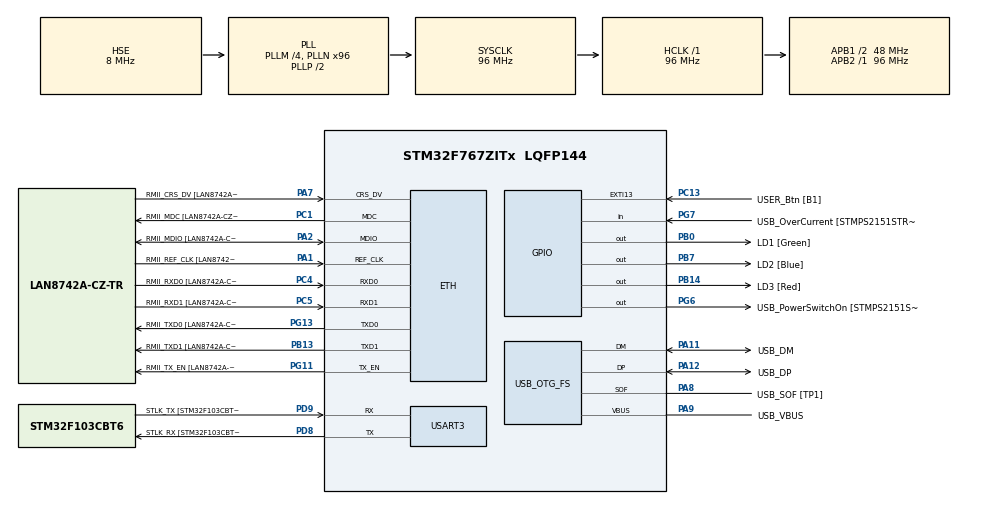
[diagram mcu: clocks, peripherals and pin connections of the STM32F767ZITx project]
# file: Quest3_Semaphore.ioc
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ETH.MediaInterface=HAL_ETH_RMII_MODE
ETH.PHY_Name=LAN8742A_PHY_ADDRESS
ETH.PHY_Value=0
ETH.PhyAddress=0
FREERTOS.CountingSemaphores01=myCountingSem01,2,Dynamic,NULL,2
FREERTOS.Tasks01=myTask,26,128,StartTask01,Default,NULL,Dynamic,NULL,NULL;myTask02,25,128,StartTask02,Default,NULL,Dynamic,NULL,NULL;myTask03,24,128,StartTask03,Default,NULL,Dynamic,NULL,NULL
FREERTOS.configUSE_NEWLIB_REENTRANT=1
Mcu.Family=STM32F7
Mcu.Name=STM32F767ZITx
Mcu.Package=LQFP144
NVIC.EXTI15_10_IRQn=true\:5\:0\:false\:false\:true\:true\:true\:true\:true
NVIC.PriorityGroup=NVIC_PRIORITYGROUP_4
NVIC.TIM1_UP_TIM10_IRQn=true\:15\:0\:false\:false\:true\:false\:false\:true\:true
NVIC.TimeBase=TIM1_UP_TIM10_IRQn
NVIC.TimeBaseIP=TIM1
PA1.GPIO_Label=RMII_REF_CLK [LAN8742A-CZ-TR_REFCLK0]
PA1.Mode=RMII
PA1.Signal=ETH_REF_CLK
PA10.GPIO_Label=USB_ID
PA10.Signal=USB_OTG_FS_ID
PA11.GPIO_Label=USB_DM
PA11.Mode=Device_Only
PA11.Signal=USB_OTG_FS_DM
PA12.GPIO_Label=USB_DP
PA12.Mode=Device_Only
PA12.Signal=USB_OTG_FS_DP
PA13.GPIO_Label=TMS
PA13.Mode=Serial_Wire
PA13.Signal=SYS_JTMS-SWDIO
PA14.GPIO_Label=TCK
PA14.Mode=Serial_Wire
PA14.Signal=SYS_JTCK-SWCLK
PA2.GPIO_Label=RMII_MDIO [LAN8742A-CZ-TR_MDIO]
PA2.Mode=RMII
PA2.Signal=ETH_MDIO
PA7.GPIO_Label=RMII_CRS_DV [LAN8742A-CZ-TR_CRS_DV]
PA7.Mode=RMII
PA7.Signal=ETH_CRS_DV
PA8.GPIO_Label=USB_SOF [TP1]
PA8.Mode=Activate_SOF_FS
PA8.Signal=USB_OTG_FS_SOF
PA9.GPIO_Label=USB_VBUS
PA9.Mode=Activate_VBUS
PA9.Signal=USB_OTG_FS_VBUS
PB0.GPIO_Label=LD1 [Green]
PB0.Signal=GPIO_Output
PB13.GPIO_Label=RMII_TXD1 [LAN8742A-CZ-TR_TXD1]
PB13.Mode=RMII
PB13.Signal=ETH_TXD1
PB14.GPIO_Label=LD3 [Red]
PB14.Signal=GPIO_Output
PB3.GPIO_Label=SWO
PB3.Signal=SYS_JTDO-SWO
PB7.GPIO_Label=LD2 [Blue]
PB7.Signal=GPIO_Output
PC1.GPIO_Label=RMII_MDC [LAN8742A-CZ-TR_MDC]
PC1.Mode=RMII
PC1.Signal=ETH_MDC
PC13.GPIO_Label=USER_Btn [B1]
PC13.Signal=GPXTI13
PC14/OSC32_IN.Mode=LSE-External-Oscillator
PC14/OSC32_IN.Signal=RCC_OSC32_IN
PC15/OSC32_OUT.Mode=LSE-External-Oscillator
PC15/OSC32_OUT.Signal=RCC_OSC32_OUT
PC4.GPIO_Label=RMII_RXD0 [LAN8742A-CZ-TR_RXD0]
PC4.Mode=RMII
PC4.Signal=ETH_RXD0
PC5.GPIO_Label=RMII_RXD1 [LAN8742A-CZ-TR_RXD1]
PC5.Mode=RMII
PC5.Signal=ETH_RXD1
PD8.GPIO_Label=STLK_RX [STM32F103CBT6_PA3]
PD8.Mode=Asynchronous
PD8.Signal=USART3_TX
PD9.GPIO_Label=STLK_TX [STM32F103CBT6_PA2]
PD9.Mode=Asynchronous
PD9.Signal=USART3_RX
PG11.GPIO_Label=RMII_TX_EN [LAN8742A-CZ-TR_TXEN]
PG11.Mode=RMII
PG11.Signal=ETH_TX_EN
PG13.GPIO_Label=RMII_TXD0 [LAN8742A-CZ-TR_TXD0]
PG13.Mode=RMII
PG13.Signal=ETH_TXD0
PG6.GPIO_Label=USB_PowerSwitchOn [STMPS2151STR_EN]
PG6.Signal=GPIO_Output
PG7.GPIO_Label=USB_OverCurrent [STMPS2151STR_FAULT]
PG7.Signal=GPIO_Input
PH0/OSC_IN.GPIO_Label=MCO [STM32F103CBT6_PA8]
PH0/OSC_IN.Mode=HSE-External-Oscillator
PH0/OSC_IN.Signal=RCC_OSC_IN
PH1/OSC_OUT.Mode=HSE-External-Oscillator
PH1/OSC_OUT.Signal=RCC_OSC_OUT
ProjectManager.HeapSize=0x200
ProjectManager.StackSize=0x400
ProjectManager.TargetToolchain=STM32CubeIDE
RCC.48MHZClocksFreq_Value=24000000
RCC.AHBFreq_Value=96000000
RCC.APB1CLKDivider=RCC_HCLK_DIV2
RCC.APB1Freq_Value=48000000
RCC.APB1TimFreq_Value=96000000
RCC.APB2Freq_Value=96000000
RCC.APB2TimFreq_Value=96000000
RCC.CortexFreq_Value=96000000
RCC.HCLKFreq_Value=96000000
RCC.HSE_VALUE=8000000
RCC.HSI_VALUE=16000000
RCC.PLLM=4
RCC.PLLMUL=RCC_PLL_MUL9
RCC.PLLN=96
RCC.PLLQ=4
RCC.PRESCALERUSB=RCC_USBCLKSOURCE_PLL_DIV1_5
RCC.SYSCLKFreq_VALUE=96000000
RCC.SYSCLKSource=RCC_SYSCLKSOURCE_PLLCLK
RCC.SYSCLKSourceVirtual=RCC_SYSCLKSOURCE_PLLCLK
RCC.USBFreq_Value=48000000
RCC.VCOOutputFreq_Value=192000000
USART3.VirtualMode-Asynchronous=VM_ASYNC
USB_OTG_FS.VirtualMode=Device_Only
VP_FREERTOS_VS_CMSIS_V2.Mode=CMSIS_V2
VP_SYS_VS_tim1.Mode=TIM1
board=NUCLEO-F767ZI

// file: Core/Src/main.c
/* USER CODE BEGIN Header */
/**
  ******************************************************************************
  * @file           : main.c
  * @brief          : Main program body
  ******************************************************************************
  * @attention
  *
  * Copyright (c) 2025 STMicroelectronics.
  * All rights reserved.
  *
  * This software is licensed under terms that can be found in the LICENSE file
  * in the root directory of this software component.
  * If no LICENSE file comes with this software, it is provided AS-IS.
  *
  ******************************************************************************
  */
/* USER CODE END Header */
#include "main.h"
#include "string.h"
#include "cmsis_os.h"

#if defined ( __ICCARM__ ) /*!< IAR Compiler */
#pragma location=0x2007c000
ETH_DMADescTypeDef  DMARxDscrTab[ETH_RX_DESC_CNT]; /* Ethernet Rx DMA Descriptors */
#pragma location=0x2007c0a0
ETH_DMADescTypeDef  DMATxDscrTab[ETH_TX_DESC_CNT]; /* Ethernet Tx DMA Descriptors */

#elif defined ( __CC_ARM )  /* MDK ARM Compiler */

__attribute__((at(0x2007c000))) ETH_DMADescTypeDef  DMARxDscrTab[ETH_RX_DESC_CNT]; /* Ethernet Rx DMA Descriptors */
__attribute__((at(0x2007c0a0))) ETH_DMADescTypeDef  DMATxDscrTab[ETH_TX_DESC_CNT]; /* Ethernet Tx DMA Descriptors */

#elif defined ( __GNUC__ ) /* GNU Compiler */

ETH_DMADescTypeDef DMARxDscrTab[ETH_RX_DESC_CNT] __attribute__((section(".RxDecripSection"))); /* Ethernet Rx DMA Descriptors */
ETH_DMADescTypeDef DMATxDscrTab[ETH_TX_DESC_CNT] __attribute__((section(".TxDecripSection")));   /* Ethernet Tx DMA Descriptors */
#endif

ETH_TxPacketConfig TxConfig;

ETH_HandleTypeDef heth;

UART_HandleTypeDef huart3;

PCD_HandleTypeDef hpcd_USB_OTG_FS;

/* Definitions for myTask */
osThreadId_t myTaskHandle;
const osThreadAttr_t myTask_attributes = {
  .name = "myTask",
  .stack_size = 128 * 4,
  .priority = (osPriority_t) osPriorityNormal2,
};
/* Definitions for myTask02 */
osThreadId_t myTask02Handle;
const osThreadAttr_t myTask02_attributes = {
  .name = "myTask02",
  .stack_size = 128 * 4,
  .priority = (osPriority_t) osPriorityNormal1,
};
/* Definitions for myTask03 */
osThreadId_t myTask03Handle;
const osThreadAttr_t myTask03_attributes = {
  .name = "myTask03",
  .stack_size = 128 * 4,
  .priority = (osPriority_t) osPriorityNormal,
};
/* Definitions for myCountingSem01 */
osSemaphoreId_t myCountingSem01Handle;
const osSemaphoreAttr_t myCountingSem01_attributes = {
  .name = "myCountingSem01"
};
/* USER CODE BEGIN PV */
uint32_t count = 0;
/* USER CODE END PV */

void SystemClock_Config(void);
static void MX_GPIO_Init(void);
static void MX_ETH_Init(void);
static void MX_USART3_UART_Init(void);
static void MX_USB_OTG_FS_PCD_Init(void);
void StartTask01(void *argument);
void StartTask02(void *argument);
void StartTask03(void *argument);

int main(void)
{

  /* MCU Configuration--------------------------------------------------------*/

  /* Reset of all peripherals, Initializes the Flash interface and the Systick. */
  HAL_Init();

  /* Configure the system clock */
  SystemClock_Config();

  /* Initialize all configured peripherals */
  MX_GPIO_Init();
  MX_ETH_Init();
  MX_USART3_UART_Init();
  MX_USB_OTG_FS_PCD_Init();

  /* Init scheduler */
  osKernelInitialize();

  /* Create the semaphores(s) */
  /* creation of myCountingSem01 */
  myCountingSem01Handle = osSemaphoreNew(2, 2, &myCountingSem01_attributes);

  /* Create the thread(s) */
  /* creation of myTask */
  myTaskHandle = osThreadNew(StartTask01, NULL, &myTask_attributes);

  /* creation of myTask02 */
  myTask02Handle = osThreadNew(StartTask02, NULL, &myTask02_attributes);

  /* creation of myTask03 */
  myTask03Handle = osThreadNew(StartTask03, NULL, &myTask03_attributes);

  /* Start scheduler */
  osKernelStart();

  /* We should never get here as control is now taken by the scheduler */

  /* Infinite loop */
  while (1)
  {

  }
}

void SystemClock_Config(void)
{
  RCC_OscInitTypeDef RCC_OscInitStruct = {0};
  RCC_ClkInitTypeDef RCC_ClkInitStruct = {0};

  /** Configure LSE Drive Capability
  */
  HAL_PWR_EnableBkUpAccess();

  /** Configure the main internal regulator output voltage
  */
  __HAL_RCC_PWR_CLK_ENABLE();
  __HAL_PWR_VOLTAGESCALING_CONFIG(PWR_REGULATOR_VOLTAGE_SCALE3);

  /** Initializes the RCC Oscillators according to the specified parameters
  * in the RCC_OscInitTypeDef structure.
  */
  RCC_OscInitStruct.OscillatorType = RCC_OSCILLATORTYPE_HSE;
  RCC_OscInitStruct.HSEState = RCC_HSE_ON;
  RCC_OscInitStruct.PLL.PLLState = RCC_PLL_ON;
  RCC_OscInitStruct.PLL.PLLSource = RCC_PLLSOURCE_HSE;
  RCC_OscInitStruct.PLL.PLLM = 4;
  RCC_OscInitStruct.PLL.PLLN = 96;
  RCC_OscInitStruct.PLL.PLLP = RCC_PLLP_DIV2;
  RCC_OscInitStruct.PLL.PLLQ = 4;
  RCC_OscInitStruct.PLL.PLLR = 2;
  if (HAL_RCC_OscConfig(&RCC_OscInitStruct) != HAL_OK)
  {
    Error_Handler();
  }

  /** Activate the Over-Drive mode
  */
  if (HAL_PWREx_EnableOverDrive() != HAL_OK)
  {
    Error_Handler();
  }

  /** Initializes the CPU, AHB and APB buses clocks
  */
  RCC_ClkInitStruct.ClockType = RCC_CLOCKTYPE_HCLK|RCC_CLOCKTYPE_SYSCLK
                              |RCC_CLOCKTYPE_PCLK1|RCC_CLOCKTYPE_PCLK2;
  RCC_ClkInitStruct.SYSCLKSource = RCC_SYSCLKSOURCE_PLLCLK;
  RCC_ClkInitStruct.AHBCLKDivider = RCC_SYSCLK_DIV1;
  RCC_ClkInitStruct.APB1CLKDivider = RCC_HCLK_DIV2;
  RCC_ClkInitStruct.APB2CLKDivider = RCC_HCLK_DIV1;

  if (HAL_RCC_ClockConfig(&RCC_ClkInitStruct, FLASH_LATENCY_3) != HAL_OK)
  {
    Error_Handler();
  }
}

static void MX_ETH_Init(void)
{

   static uint8_t MACAddr[6];

  heth.Instance = ETH;
  MACAddr[0] = 0x00;
  MACAddr[1] = 0x80;
  MACAddr[2] = 0xE1;
  MACAddr[3] = 0x00;
  MACAddr[4] = 0x00;
  MACAddr[5] = 0x00;
  heth.Init.MACAddr = &MACAddr[0];
  heth.Init.MediaInterface = HAL_ETH_RMII_MODE;
  heth.Init.TxDesc = DMATxDscrTab;
  heth.Init.RxDesc = DMARxDscrTab;
  heth.Init.RxBuffLen = 1524;

  if (HAL_ETH_Init(&heth) != HAL_OK)
  {
    Error_Handler();
  }

  memset(&TxConfig, 0 , sizeof(ETH_TxPacketConfig));
  TxConfig.Attributes = ETH_TX_PACKETS_FEATURES_CSUM | ETH_TX_PACKETS_FEATURES_CRCPAD;
  TxConfig.ChecksumCtrl = ETH_CHECKSUM_IPHDR_PAYLOAD_INSERT_PHDR_CALC;
  TxConfig.CRCPadCtrl = ETH_CRC_PAD_INSERT;

}

static void MX_USART3_UART_Init(void)
{

  huart3.Instance = USART3;
  huart3.Init.BaudRate = 115200;
  huart3.Init.WordLength = UART_WORDLENGTH_8B;
  huart3.Init.StopBits = UART_STOPBITS_1;
  huart3.Init.Parity = UART_PARITY_NONE;
  huart3.Init.Mode = UART_MODE_TX_RX;
  huart3.Init.HwFlowCtl = UART_HWCONTROL_NONE;
  huart3.Init.OverSampling = UART_OVERSAMPLING_16;
  huart3.Init.OneBitSampling = UART_ONE_BIT_SAMPLE_DISABLE;
  huart3.AdvancedInit.AdvFeatureInit = UART_ADVFEATURE_NO_INIT;
  if (HAL_UART_Init(&huart3) != HAL_OK)
  {
    Error_Handler();
  }

}

static void MX_USB_OTG_FS_PCD_Init(void)
{

  hpcd_USB_OTG_FS.Instance = USB_OTG_FS;
  hpcd_USB_OTG_FS.Init.dev_endpoints = 6;
  hpcd_USB_OTG_FS.Init.speed = PCD_SPEED_FULL;
  hpcd_USB_OTG_FS.Init.dma_enable = DISABLE;
  hpcd_USB_OTG_FS.Init.phy_itface = PCD_PHY_EMBEDDED;
  hpcd_USB_OTG_FS.Init.Sof_enable = ENABLE;
  hpcd_USB_OTG_FS.Init.low_power_enable = DISABLE;
  hpcd_USB_OTG_FS.Init.lpm_enable = DISABLE;
  hpcd_USB_OTG_FS.Init.vbus_sensing_enable = ENABLE;
  hpcd_USB_OTG_FS.Init.use_dedicated_ep1 = DISABLE;
  if (HAL_PCD_Init(&hpcd_USB_OTG_FS) != HAL_OK)
  {
    Error_Handler();
  }

}

static void MX_GPIO_Init(void)
{
  GPIO_InitTypeDef GPIO_InitStruct = {0};

  /* GPIO Ports Clock Enable */
  __HAL_RCC_GPIOC_CLK_ENABLE();
  __HAL_RCC_GPIOH_CLK_ENABLE();
  __HAL_RCC_GPIOA_CLK_ENABLE();
  __HAL_RCC_GPIOB_CLK_ENABLE();
  __HAL_RCC_GPIOD_CLK_ENABLE();
  __HAL_RCC_GPIOG_CLK_ENABLE();

  /*Configure GPIO pin Output Level */
  HAL_GPIO_WritePin(GPIOB, LD1_Pin|LD3_Pin|LD2_Pin, GPIO_PIN_RESET);

  /*Configure GPIO pin Output Level */
  HAL_GPIO_WritePin(USB_PowerSwitchOn_GPIO_Port, USB_PowerSwitchOn_Pin, GPIO_PIN_RESET);

  /*Configure GPIO pin : USER_Btn_Pin */
  GPIO_InitStruct.Pin = USER_Btn_Pin;
  GPIO_InitStruct.Mode = GPIO_MODE_IT_RISING;
  GPIO_InitStruct.Pull = GPIO_NOPULL;
  HAL_GPIO_Init(USER_Btn_GPIO_Port, &GPIO_InitStruct);

  /*Configure GPIO pins : LD1_Pin LD3_Pin LD2_Pin */
  GPIO_InitStruct.Pin = LD1_Pin|LD3_Pin|LD2_Pin;
  GPIO_InitStruct.Mode = GPIO_MODE_OUTPUT_PP;
  GPIO_InitStruct.Pull = GPIO_NOPULL;
  GPIO_InitStruct.Speed = GPIO_SPEED_FREQ_LOW;
  HAL_GPIO_Init(GPIOB, &GPIO_InitStruct);

  /*Configure GPIO pin : USB_PowerSwitchOn_Pin */
  GPIO_InitStruct.Pin = USB_PowerSwitchOn_Pin;
  GPIO_InitStruct.Mode = GPIO_MODE_OUTPUT_PP;
  GPIO_InitStruct.Pull = GPIO_NOPULL;
  GPIO_InitStruct.Speed = GPIO_SPEED_FREQ_LOW;
  HAL_GPIO_Init(USB_PowerSwitchOn_GPIO_Port, &GPIO_InitStruct);

  /*Configure GPIO pin : USB_OverCurrent_Pin */
  GPIO_InitStruct.Pin = USB_OverCurrent_Pin;
  GPIO_InitStruct.Mode = GPIO_MODE_INPUT;
  GPIO_InitStruct.Pull = GPIO_NOPULL;
  HAL_GPIO_Init(USB_OverCurrent_GPIO_Port, &GPIO_InitStruct);

  /* EXTI interrupt init*/
  HAL_NVIC_SetPriority(EXTI15_10_IRQn, 5, 0);
  HAL_NVIC_EnableIRQ(EXTI15_10_IRQn);

}

/* USER CODE BEGIN 4 */
void HAL_GPIO_EXTI_Callback(uint16_t pin)
{
	if(pin == USER_Btn_Pin)
	{
		char *str = "Release! /r/n";
		HAL_UART_Transmit(&huart3, (uint8_t*) str, strlen(str), 100);
	}
}

/* USER CODE END 4 */

void StartTask01(void *argument)
{
  /* USER CODE BEGIN 5 */
  /* Infinite loop */
  for(;;)
  {
	  count = osSemaphoreGetCount(myCountingSem01Handle);
	  osSemaphoreAcquire(myCountingSem01Handle, osWaitForever);
	  count = osSemaphoreGetCount(myCountingSem01Handle);

	  char *str =  "Task 01 adquirindo semaforo!/r/n";
	  HAL_UART_Transmit(&huart3, (uint8_t*) str, strlen(str), 100);
	  HAL_GPIO_TogglePin(LD1_GPIO_Port, LD1_Pin);
	  osDelay(1000);

  }
  /* USER CODE END 5 */
}

void StartTask02(void *argument)
{
  /* USER CODE BEGIN StartTask02 */
  /* Infinite loop */
  for(;;)
  {

	  count = osSemaphoreGetCount(myCountingSem01Handle);
	  osSemaphoreAcquire(myCountingSem01Handle, osWaitForever);
	  count = osSemaphoreGetCount(myCountingSem01Handle);

	  char *str =  "Task 02 adquirindo semaforo!/r/n";
	  HAL_UART_Transmit(&huart3, (uint8_t*) str, strlen(str), 100);
	  HAL_GPIO_TogglePin(LD2_GPIO_Port, LD2_Pin);

	  if(osSemaphoreGetCount(myCountingSem01Handle) == 0)
	 	  {
	 	  	  osSemaphoreRelease(myCountingSem01Handle);
	 	  }

	  osDelay(1000);

  }
  /* USER CODE END StartTask02 */
}

void StartTask03(void *argument)
{
  for(;;)
  {
    osDelay(1);
  }
}

void HAL_TIM_PeriodElapsedCallback(TIM_HandleTypeDef *htim)
{
  if (htim->Instance == TIM1)
  {
    HAL_IncTick();
  }
}

void Error_Handler(void)
{
  __disable_irq();
  while (1)
  {
  }
}
